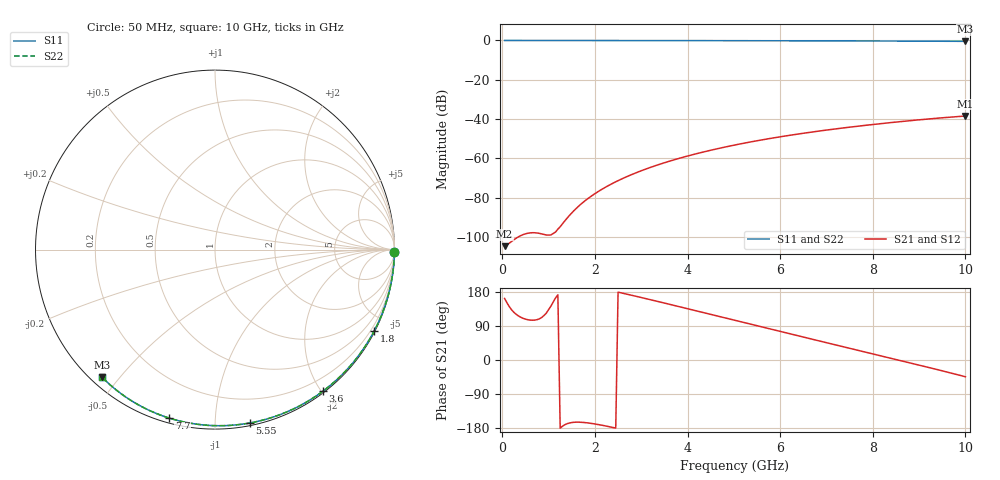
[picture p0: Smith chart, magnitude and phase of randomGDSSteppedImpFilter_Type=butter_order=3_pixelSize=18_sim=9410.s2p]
! freq	dB(S11)	phase(S11)	dB(S12)	phase(S12)
!  dB(S21)	phase(S21)	dB(S22)	phase(S22)
!S-par simulation data
#  GHz  S  DB  R 50
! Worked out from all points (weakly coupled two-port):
!   200 points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, 50 MHz to 10 GHz, reference 50 ohm
!   highest |S21| = -38.48 dB at 10 GHz (marker M1); lowest = -104.8 dB at 50 MHz (marker M2)
!   lowest |S11| = -0.5 dB at 10 GHz (marker M3), VSWR 38.45, Z = 1.56 - j22.5 ohm
!   |S11| at or under -10 dB: nowhere
!   |S22| runs from -0.5 to 0.0 dB; largest |S21 - S12| = 0
!   S11 on the Smith chart (normalised r, x): 50 MHz: open; 1.8 GHz: 0.04, -4.17; 3.6 GHz: 0.02, -2.02; 5.55 GHz: 0.02, -1.22; 7.7 GHz: 0.02, -0.77; 10 GHz: 0.03, -0.45
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0.05  -0.00 -0.8  -104.76 162.3  -104.76 162.3  -0.00 -0.8
0.9  -0.02 -13.6  -98.82 117.4  -98.82 117.4  -0.02 -13.6
1.75  -0.03 -26.2  -82.33 -164.8  -82.33 -164.8  -0.03 -26.2
1.8  -0.03 -27.0  -81.39 -165.3  -81.39 -165.3  -0.03 -27.0
1.85  -0.04 -27.7  -80.49 -166.1  -80.49 -166.1  -0.04 -27.7
1.9  -0.04 -28.4  -79.63 -166.9  -79.63 -166.9  -0.04 -28.4
2.05  -0.04 -30.6  -77.25 -169.8  -77.25 -169.8  -0.04 -30.6
2.25  -0.04 -33.5  -74.44 -174.5  -74.44 -174.5  -0.04 -33.5
2.45  -0.05 -36.4  -71.97 -179.7  -71.97 -179.7  -0.05 -36.4
2.65  -0.05 -39.3  -69.75 174.9  -69.75 174.9  -0.05 -39.3
3  -0.06 -44.3  -66.36 164.9  -66.36 164.9  -0.06 -44.3
3.4  -0.07 -49.9  -63.03 153.2  -63.03 153.2  -0.07 -49.9
3.6  -0.07 -52.7  -61.54 147.3  -61.54 147.3  -0.07 -52.7
4.3  -0.09 -62.3  -57.04 126.4  -57.04 126.4  -0.09 -62.3
5.05  -0.11 -72.3  -53.10 103.9  -53.10 103.9  -0.11 -72.3
5.55  -0.13 -78.7  -50.86 88.9  -50.86 88.9  -0.13 -78.7
6.1  -0.15 -85.7  -48.68 72.4  -48.68 72.4  -0.15 -85.7
6.7  -0.18 -93.1  -46.59 54.6  -46.59 54.6  -0.18 -93.1
7.7  -0.24 -105.1  -43.60 25.1  -43.60 25.1  -0.24 -105.1
8.35  -0.29 -112.7  -41.92 6.0  -41.92 6.0  -0.29 -112.7
9.15  -0.36 -121.9  -40.09 -17.8  -40.09 -17.8  -0.36 -121.9
10  -0.45 -131.5  -38.48 -44.2  -38.48 -44.2  -0.45 -131.5
